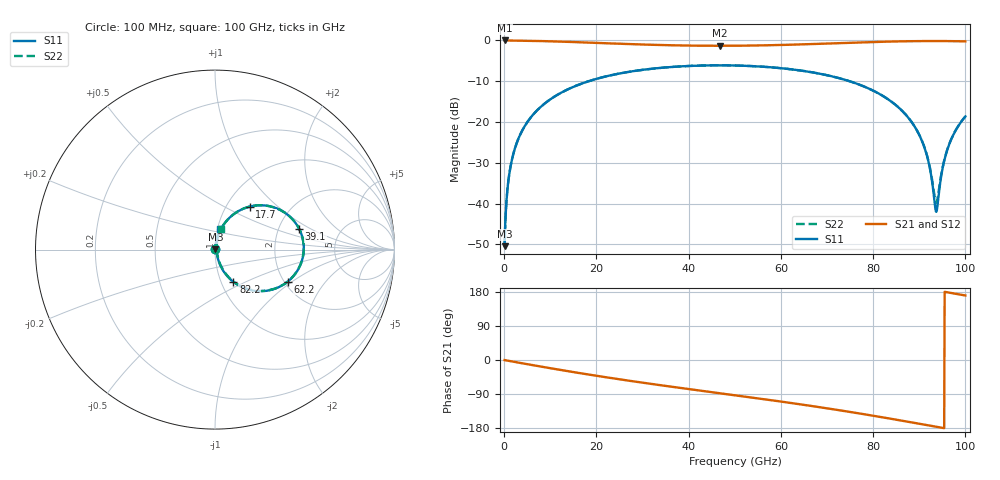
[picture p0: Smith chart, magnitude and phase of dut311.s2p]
! Touchstone file exported from HFSS 2026.1.0
!  File:  C:/ffzhzh/LocalFiles/Ansys_Project_Files/temp_train_RDL_311_1783502537_55944.aedt
!  Generated:  05:23:57 PM Jul  8, 2026
!  Design:  RDL
!  Project:  temp_train_RDL_311_1783502537_55944
! Variables:
!  h_bsmrdl = 2um
!  h_ox = 20um
!  h_rdl = 5um
!  h_sub = 80um
!  h_tmrdl = 4.5um
!  h_tsv = 80um
!  h_via = 3um
!  l_bsmrdl = 300um
!  l_sub = 1026.14um
!  l_tmrdl = 626.14um
!  m_sub = 200um
!  pitch = 55.03um
!  r_tsv = 6um
!  s_tmrdl = 10um
!  w_bsmrdl = 18um
!  w_sub = 500um
!  w_tmrdl = 28.37um
!  x_tsv_center1 = 640.325um
!  x_tsv_center2 = 958.325um
!  x_tsv_center3 = 1612.835um
!  x_tsv_center4 = 1930.835um
!  x_tsv_center5 = 2585.345um
!  x_tsv_center6 = 2903.345um
# GHz S MA R 50.000000
! Terminal data exported
! Port[1] = TM_RDL1_1_T1
! Port[2] = TM_RDL1_1_T2
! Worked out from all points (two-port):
!   1000 points, 100 MHz to 100 GHz, reference 50 ohm
!   highest |S21| = -0.02 dB at 100 MHz (marker M1); lowest = -1.3 dB at 46.7 GHz (marker M2)
!   |S21| within 3 dB of the highest: start of sweep to end of sweep
!   lowest |S11| = -50.4 dB at 100 MHz (marker M3), VSWR 1.01, Z = 50.2 + j0.228 ohm
!   |S11| at or under -10 dB: start of sweep to 18.34 GHz; 74.87 GHz to end of sweep
!   |S22| runs from -50.4 to -6.1 dB; largest |S21 - S12| = 1.8e-14
!   S11 on the Smith chart (normalised r, x): 100 MHz: 1.00, +0.00; 17.7 GHz: 1.28, +0.68; 39.1 GHz: 2.60, +0.78; 62.2 GHz: 2.08, -0.93; 82.2 GHz: 1.14, -0.43; 100 GHz: 1.03, +0.24
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0.1  0.003007 49.0  0.998 -0.2  0.998 -0.2  0.003007 49.0
! Gamma 0 0 0 0
! Port Impedance 50 0 50 0
0.8  0.01672 79.5  0.9973 -1.8  0.9973 -1.8  0.01672 79.5
1.4  0.02878 81.3  0.9968 -3.1  0.9968 -3.1  0.02878 81.3
3.9  0.07821 78.2  0.9927 -8.6  0.9927 -8.6  0.07821 78.2
8.9  0.1703 68.3  0.9785 -19.3  0.9785 -19.3  0.1703 68.3
16.8  0.2953 52.8  0.9464 -35.4  0.9464 -35.4  0.2953 52.9
17.7  0.3077 51.1  0.9423 -37.2  0.9423 -37.2  0.3077 51.2
33.4  0.4576 23.2  0.879 -65.7  0.879 -65.7  0.4576 23.3
39.1  0.4829 13.8  0.8655 -75.2  0.8655 -75.2  0.4829 13.9
46.7  0.4948 1.6  0.8587 -87.6  0.8587 -87.6  0.4948 1.7
50.1  0.4922 -3.9  0.8601 -93.1  0.8601 -93.1  0.4922 -3.7
62.2  0.4426 -23.8  0.8853 -113.4  0.8853 -113.4  0.4426 -23.6
66.7  0.4069 -31.6  0.9015 -121.4  0.9015 -121.4  0.4069 -31.4
82.2  0.2071 -60.4  0.9629 -151.6  0.9629 -151.6  0.2072 -59.8
83.4  0.1871 -62.6  0.9666 -154.1  0.9666 -154.1  0.1871 -62.0
87.5  0.1151 -69.7  0.9766 -162.8  0.9766 -162.8  0.1153 -68.6
90.3  0.06384 -72.5  0.9805 -168.8  0.9805 -168.8  0.06412 -70.5
91.9  0.03435 -69.7  0.9816 -172.3  0.9816 -172.3  0.03491 -66.1
93.7  0.007928 6.0  0.9818 -176.2  0.9818 -176.2  0.01021 5.5
95.2  0.02962 74.4  0.9811 -179.5  0.9811 -179.5  0.03034 70.2
96.2  0.04788 78.2  0.9802 178.4  0.9802 178.4  0.04833 75.5
100  0.117 75.7  0.9738 170.2  0.9738 170.2  0.1172 74.7
